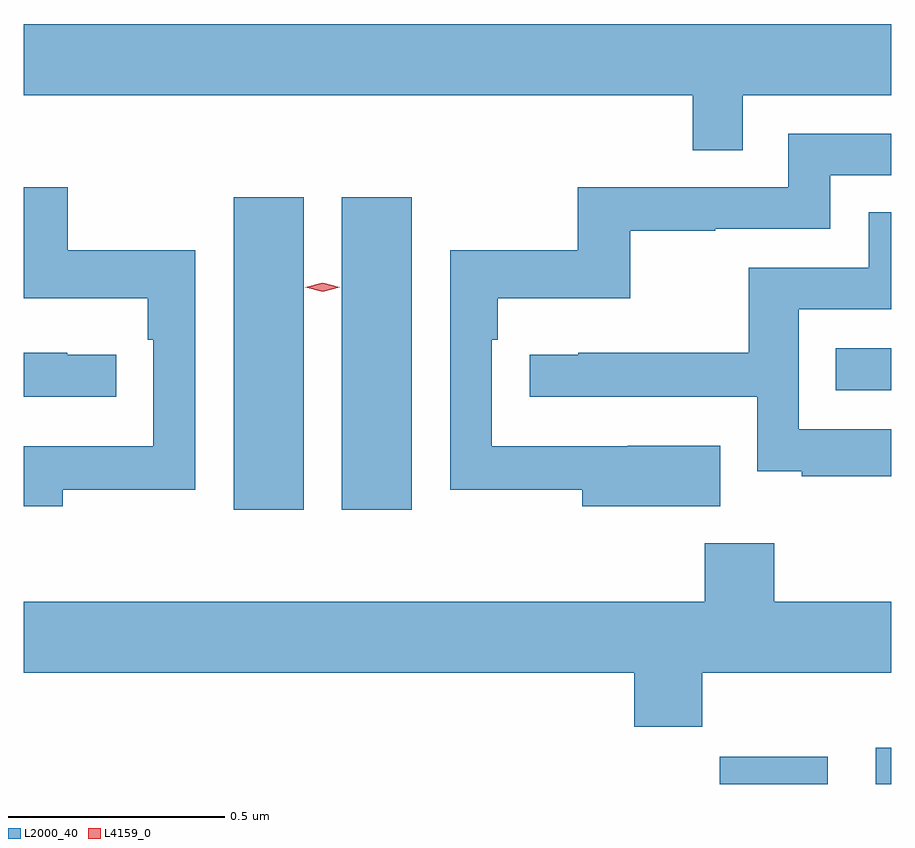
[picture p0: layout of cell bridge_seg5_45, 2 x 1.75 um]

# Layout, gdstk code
import gdstk
lib = gdstk.Library(unit=1e-6, precision=1e-09)
def R(c, l, rs):  # rectangles x0, y0, x1, y1
    for r in rs: c.add(gdstk.rectangle(r[:2], r[2:], *l))
def P(c, l, *ps):  # polygons
    for p in ps: c.add(gdstk.Polygon(p, *l))
L2000_40 = (2000, 40)
L4159_0 = (4159, 0)

bridge_seg5_45 = lib.new_cell('bridge_seg5_45')
R(bridge_seg5_45, L2000_40, [(856.87,909.784,857.119,909.847), (857.229,909.784,857.265,909.868), (855.749,910.416,855.91,911.137), (855.998,910.416,856.159,911.137), (857.137,910.692,857.265,910.788)])
P(bridge_seg5_45, L2000_40, [(856.923,911.372),(857.265,911.372),(857.265,911.536),(855.265,911.536),(855.265,911.372),(856.807,911.372),(856.807,911.245),(856.923,911.245)],
  [(856.871,910.564),(856.657,910.564),(856.657,910.563),(856.344,910.563),(856.344,910.808),(856.358,910.808),(856.358,910.904),(856.663,910.904),(856.663,911.059),(856.859,911.059),(856.859,911.064),(857.124,911.064),(857.124,911.187),(857.265,911.187),(857.265,911.283),(857.028,911.283),(857.028,911.16),(856.542,911.16),(856.542,911.014),(856.248,911.014),(856.248,910.462),(856.553,910.462),(856.553,910.424),(856.871,910.424)],
  [(855.355,910.462),(855.66,910.462),(855.66,911.014),(855.367,911.014),(855.367,911.16),(855.265,911.16),(855.265,910.904),(855.551,910.904),(855.551,910.808),(855.564,910.808),(855.564,910.563),(855.265,910.563),(855.265,910.424),(855.355,910.424)],
  [(857.265,910.602),(857.052,910.602),(857.052,910.878),(857.265,910.878),(857.265,911.102),(857.213,911.102),(857.213,910.974),(856.936,910.974),(856.936,910.778),(856.543,910.778),(856.543,910.773),(856.431,910.773),(856.431,910.677),(856.956,910.677),(856.956,910.505),(857.059,910.505),(857.059,910.494),(857.265,910.494)],
  [(855.478,910.773),(855.365,910.773),(855.365,910.778),(855.265,910.778),(855.265,910.677),(855.478,910.677)],
  [(856.829,910.04),(857.265,910.04),(857.265,910.204),(856.995,910.204),(856.995,910.339),(856.835,910.339),(856.835,910.204),(855.265,910.204),(855.265,910.04),(856.673,910.04),(856.673,909.916),(856.829,909.916)])
P(bridge_seg5_45, L4159_0, [(855.954,910.919),(855.914,910.929),(855.914,910.929),(855.914,910.929),(855.954,910.939),(855.994,910.929),(855.994,910.929),(855.994,910.929)])

lib.write_gds('bridge_seg5_45.gds')
